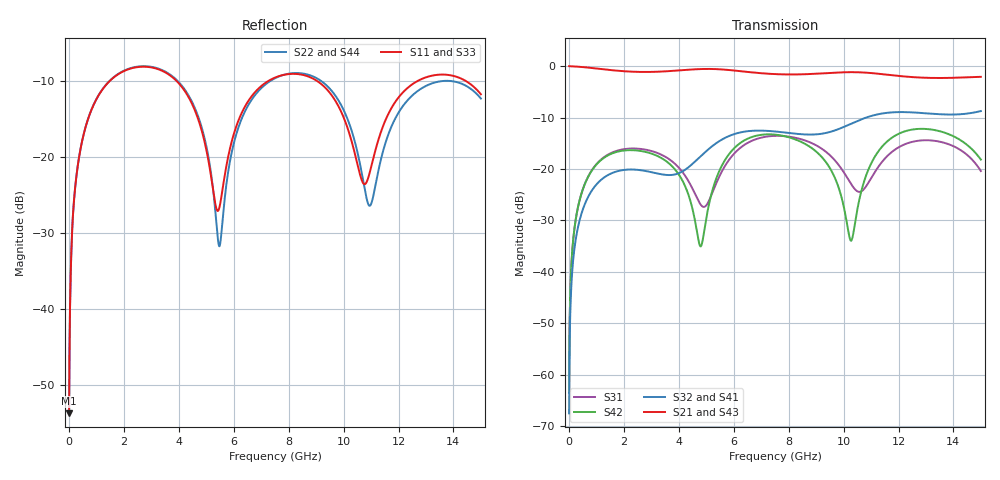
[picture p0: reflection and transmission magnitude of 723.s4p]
! Created with skrf 1.8.0 (http://scikit-rf.org).
# GHz S RI R 50.0
!freq ReS11 ImS11 ReS12 ImS12 ReS13 ImS13
! ReS14 ImS14
! ReS21 ImS21 ReS22 ImS22 ReS23 ImS23
! ReS24 ImS24
! ReS31 ImS31 ReS32 ImS32 ReS33 ImS33
! ReS34 ImS34
! ReS41 ImS41 ReS42 ImS42 ReS43 ImS43
! ReS44 ImS44
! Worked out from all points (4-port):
!   2499 points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, 5 MHz to 15 GHz, reference 50 ohm
!   strongest paths, dB at 5 MHz, 3.476 GHz, 7.19 GHz, 11.1 GHz, 15 GHz:
!     S21: 0.0, -1.0, -1.5, -1.4, -2.1
!     S43: 0.0, -1.0, -1.5, -1.4, -2.1
!     S32: -67.5, -21.1, -12.6, -9.6, -8.7
!     S41: -67.5, -21.1, -12.6, -9.6, -8.8
!     S42: -63.6, -18.3, -13.3, -18.0, -18.2
!     S31: -63.6, -17.5, -13.7, -21.0, -20.4
!   lowest |S11| = -53.7 dB at 5 MHz (marker M1), VSWR 1.00, Z = 50.2 + j0.126 ohm
!   |S11| at or under -10 dB: start of sweep to 1.484 GHz; 3.919 GHz to 7.26 GHz (3.341 GHz wide, 59.8 % of centre); 9.035 GHz to 12.7 GHz (3.662 GHz wide, 33.7 % of centre) (the widest 3 of 4)
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0.005  0.00165 0.00125  0.9983 -0.00321  8.31e-05 0.000658  -8.06e-05 -0.000412
       0.9983 -0.00321  0.00165 0.00125  -8.06e-05 -0.000412  8.29e-05 0.000659
       8.31e-05 0.000658  -8.06e-05 -0.000412  0.00165 0.00125  0.9983 -0.00321
       -8.06e-05 -0.000412  8.29e-05 0.000659  0.9983 -0.00321  0.00165 0.00125
0.3126303  0.0242 0.0824  0.9668 -0.1998  0.0116 0.039  -0.00933 -0.0242
           0.9668 -0.1998  0.0244 0.0824  -0.00933 -0.0242  0.0109 0.0391
           0.0116 0.039  -0.00933 -0.0242  0.0242 0.0824  0.9668 -0.1998
           -0.00933 -0.0242  0.0109 0.0391  0.9668 -0.1998  0.0244 0.0824
1.569404  0.2742 0.1776  0.5375 -0.7366  0.134 0.0535  -0.091 -0.00441
          0.5375 -0.7366  0.2772 0.1755  -0.0911 -0.00436  0.1251 0.0659
          0.134 0.0535  -0.0911 -0.00436  0.2741 0.1776  0.5375 -0.7366
          -0.091 -0.00441  0.1251 0.0659  0.5375 -0.7366  0.2772 0.1755
5.283451  0.0449 -0.0321  -0.9244 -0.1483  -0.0367 0.0529  -0.0255 0.1699
          -0.9244 -0.1483  0.0273 -0.046  -0.0249 0.17  0.0205 0.0669
          -0.0367 0.0529  -0.0249 0.17  0.0442 -0.0312  -0.9246 -0.1478
          -0.0255 0.1699  0.0205 0.0669  -0.9246 -0.1478  0.0278 -0.0448
8.491038  0.3436 -0.0517  0.0207 0.8318  0.1624 -0.1045  0.2021 -0.0773
          0.0207 0.8318  0.351 -0.0501  0.2023 -0.0792  0.1681 -0.0678
          0.1624 -0.1045  0.2023 -0.0792  0.3463 -0.0508  0.0204 0.8305
          0.2021 -0.0773  0.1681 -0.0678  0.0204 0.8305  0.3545 -0.0511
11.18591  0.0896 0.0729  0.8467 -0.0139  -0.00636 0.0973  -0.0212 -0.3356
          0.8467 -0.0139  0.0577 0.0376  -0.0241 -0.336  0.0869 0.1071
          -0.00636 0.0973  -0.0241 -0.336  0.087 0.0697  0.8469 -0.0125
          -0.0212 -0.3356  0.0869 0.1071  0.8469 -0.0125  0.0608 0.0345
15  0.2216 -0.1334  -0.3805 -0.6884  0.0085 -0.0949  -0.3065 0.1976
    -0.3805 -0.6884  0.2169 -0.1085  -0.3037 0.203  0.0032 -0.1232
    0.0085 -0.0949  -0.3037 0.203  0.2278 -0.1314  -0.3781 -0.6882
    -0.3065 0.1976  0.0032 -0.1232  -0.3781 -0.6882  0.22 -0.1153
